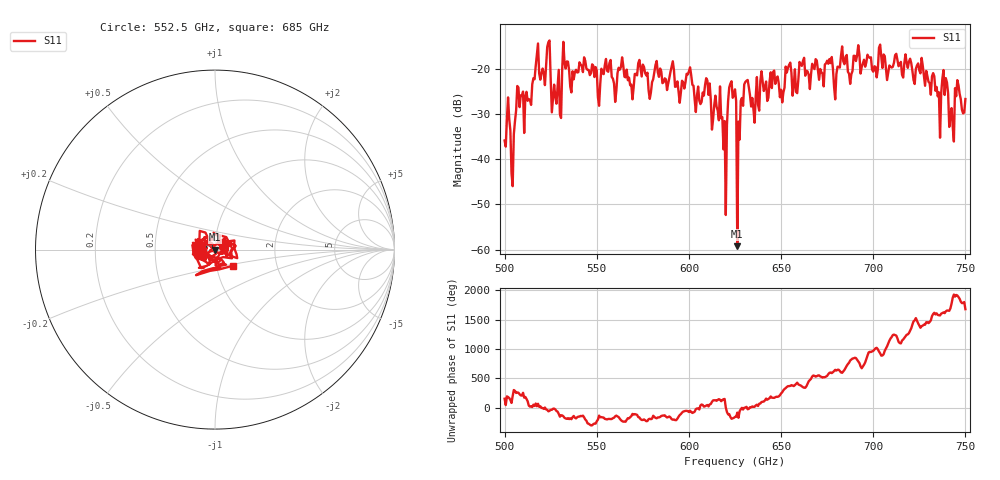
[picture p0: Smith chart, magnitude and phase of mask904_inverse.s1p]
!Created with skrf (http://scikit-rf.org).
# GHz S MA R 50.0
!freq magS11 angS11
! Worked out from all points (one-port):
!   401 points, 500 GHz to 750 GHz, reference 50 ohm
!   lowest |S11| = -59.2 dB at 626.2 GHz (marker M1), VSWR 1.00, Z = 50 - j0.109 ohm
!   |S11| at or under -10 dB: start of sweep to end of sweep
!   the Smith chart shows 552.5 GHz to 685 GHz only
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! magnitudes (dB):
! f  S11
! 500 GHz  -35.8
! 501.9 GHz  -26.3
! 504.4 GHz  -45.9
! 507.5 GHz  -24.1
! 513.8 GHz  -26.9
! 516.9 GHz  -19.4
! 523.8 GHz  -14.1
! 526.9 GHz  -23.5
! 531.2 GHz  -20.0
! 533.1 GHz  -19.9
! 551.9 GHz  -23.4
! 562.5 GHz  -20.2
! 593.8 GHz  -22.8
! 610 GHz  -22.5
! 619.4 GHz  -31.5
! 623.8 GHz  -26.4
! 625 GHz  -24.5
! 626.2 GHz  -59.2
! 631.2 GHz  -22.6
! 635 GHz  -28.9
! 656.2 GHz  -25.9
! 687.5 GHz  -23.3
! 718.8 GHz  -19.8
! 735 GHz  -26.1
! 738.8 GHz  -25.8
! 742.5 GHz  -28.7
! 745.6 GHz  -22.5
! 750 GHz  -26.7
